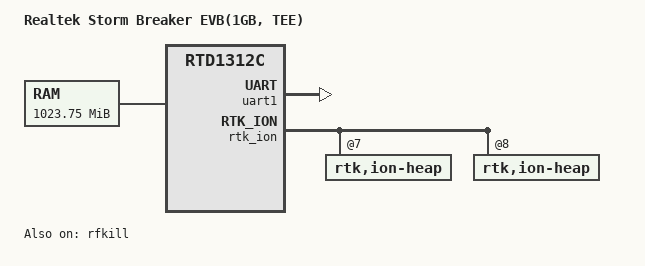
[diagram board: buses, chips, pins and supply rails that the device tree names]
// SPDX-License-Identifier: (GPL-2.0-or-later OR BSD-2-Clause)
/*
 * Copyright (c) 2019-2021 Realtek Semiconductor Corp.
 */

/dts-v1/;

#include "rtd1312c-stormbreaker.dtsi"

/ {
	compatible = "realtek,storm-breaker", "realtek,rtd1312c";
	model = "Realtek Storm Breaker EVB(1GB, TEE)";

	memory@40000 {
		device_type = "memory";
		reg = <0x00040000 0x3ffc0000>; /* 1 GiB */
	};

	chosen {
		linux,initrd-start = <0x03100000>;
		linux,initrd-end = <0x03500000>;
		bootargs = "earlycon=uart8250,mmio32,0x98007800 console=ttyS0,460800 init=/init loop.max_part=7 androidboot.storage=emmc androidboot.hardware=groot NO_RESERVE";
	};
};

&uart1 {
	status = "okay";
};

&rfkill {
	status = "okay";
};

&reserved_memory {
	audio_heap@4200000 {
		compatible = "audio_heap";
		reg = <0x04200000 0xc0000>;
	};

	media_heap@4e00000 {
		compatible = "media_heap";
		reg = <0x04e00000 0x02000000>;
	};

	tee@10100000 {
		reg = <0x10100000 0x1400000>;
	};

	linux,default_cma {
		status = "disabled";		
	};

	linux,cma_1 {
		status = "disabled";
	};

	linux,cma_2 {
		size = <0x400000>;
		status = "disabled";
	};

	linux,cma_3 {
		size = <0xa000000>;
	};

	linux,cma_4 {
		status = "disabled";
	};

	linux,cma_5 {
		size = <0x01000000>;
	};

	linux,cma_6 {
		size = <0x1c00000>;
	};

	linux,cma_7 {
		size = <0x400000>;
	};

	linux,cma_8 {
		size = <0x6000000>;
		status = "disabled";
	};

	linux,cma_9 {
		size = <0x4000000>;
	};
};

&rtk_ion {
	rtk,ion-heap@7 { 
		rtk,memory-reserve = <0x04e00000 0x02000000 RTK_FLAG_ION_HEAP
				      0x00C40000 0x003C4000 RTK_FLAG_PROTECTED_DYNAMIC_METADATA>;
	};

	rtk,ion-heap@8 {
		rtk,memory-reserve = <0x04200000 0x000c0000 RTK_FLAG_ION_HEAP>;
	};
};

&rtk_fb {
	resolution = <1280 720>;
};
